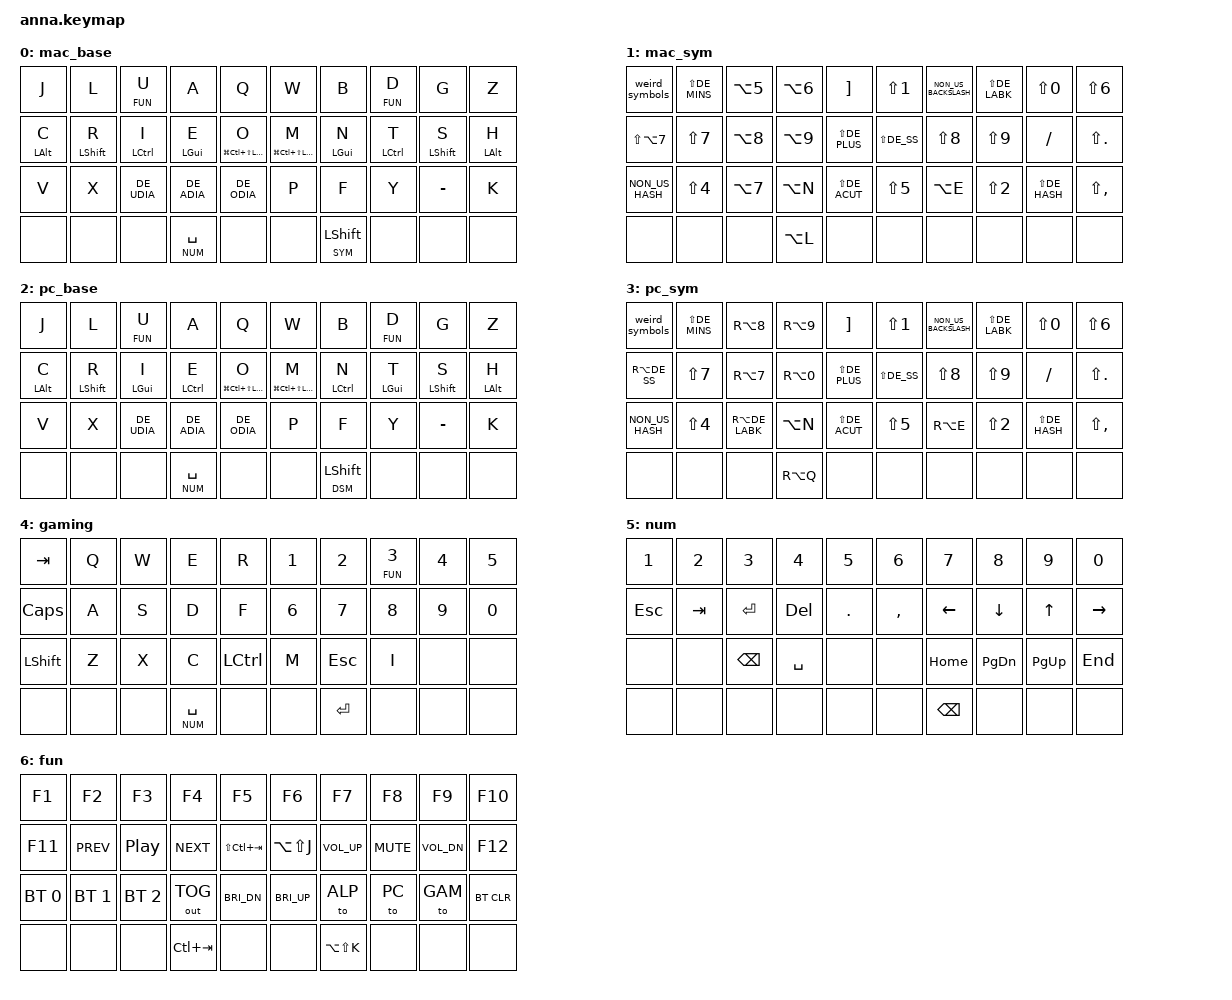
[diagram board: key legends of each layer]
/*
 * Copyright (c) 2021 The ZMK Contributors
 *
 * SPDX-License-Identifier: MIT
 */

#include <behaviors.dtsi>
#include <dt-bindings/zmk/keys.h>
#include <dt-bindings/zmk/bt.h>
#include <dt-bindings/zmk/outputs.h>

/* UNIVERSAL GERMAN KEY CODES */
#define DE_Z    Y             // Z
#define DE_Y    Z             // Y
#define DE_SS   MINUS         // ß


/* MAC GERMAN KEYBOARD CODES */
#define MAC_AT LA(L)           // @
#define MAC_EURO LA(E)         // €
#define MAC_TILD LA(N)         // ~
#define MAC_BSLS LS(LA(NUMBER_7)) // (backslash)
#define MAC_LBRC LA(NUMBER_5)     // [
#define MAC_RBRC LA(NUMBER_6)     // ]
#define MAC_PIPE LA(NUMBER_7)     // |
#define MAC_LCBR LA(NUMBER_8)     // {
#define MAC_RCBR LA(NUMBER_9)     // }

/* DIN GERMAN KEYBOARD CODES */
#define DE_CIRC GRAVE // ^ (dead)
#define DE_ACUT EQUAL // ´ (dead)
#define DE_UNDS LS(DE_MINS) // _
#define DE_UDIA LEFT_BRACKET // Ü
#define DE_PLUS RIGHT_BRACKET // +
#define DE_ODIA SEMICOLON    // Ö
#define DE_ADIA SINGLE_QUOTE // Ä
#define DE_HASH NON_US_HASH  // #
#define DE_LABK NON_US_BACKSLASH // <
#define DE_EXLM LS(NUMBER_1)    // !
#define DE_DQUO LS(NUMBER_2)    // "
#define DE_SECT LS(NUMBER_3)    // §
#define DE_DLR  LS(NUMBER_4)    // $
#define DE_PERC LS(NUMBER_5)    // %
#define DE_AMPR LS(NUMBER_6)    // &
#define DE_SLSH LS(NUMBER_7)    // /
#define DE_LPRN LS(NUMBER_8)    // (
#define DE_RPRN LS(NUMBER_9)    // )
#define DE_EQL  LS(NUMBER_0)    // =
#define DE_MINS SLASH            // -
#define DE_DEG  LS(DE_CIRC) // °
#define DE_QUES LS(DE_SS)   // ?
#define DE_GRV  LS(DE_ACUT) // ` (dead)
#define DE_ASTR LS(DE_PLUS) // *
#define DE_QUOT LS(DE_HASH) // '
#define DE_RABK LS(DE_LABK) // >
#define DE_SCLN LS(COMMA) // ;
#define DE_COLN LS(PERIOD)  // :

#define DE_AT RA(Q)           // @
#define DE_EURO RA(E)         // €
#define DE_TILD RA(DE_PLUS)         // ~
#define DE_BSLS RA(DE_SS) // (backslash)
#define DE_LBRC RA(NUMBER_8)     // [
#define DE_RBRC RA(NUMBER_9)     // ]
#define DE_PIPE RA(DE_LABK)     // |
#define DE_LCBR RA(NUMBER_7)     // {
#define DE_RCBR RA(NUMBER_0)     // }


#define _____ &none

#define ALP 0
#define SYM 1
#define PC  2
#define DSM 3
#define GAM 4
#define NUM 5
#define FUN 6

#define DE_UE DE_UDIA
#define DE_AE DE_ADIA
#define DE_OE DE_ODIA

#define HYP LG(LC(LS(LALT)))

&caps_word {
    continue-list = <DE_UNDS DE_MINS BACKSPACE DELETE>;
};

&mt {
  quick-tap-ms = <125>;
  global-quick-tap;
  flavor = "tap-preferred";
  tapping-term-ms = <250>;
};

&lt {
  quick-tap-ms = <125>;
  global-quick-tap;
};

&sk {
    quick-release;
};

&sl {
    quick-release;
};

/ {
    macros {
        work: work {
            label = "work";
            compatible = "zmk,behavior-macro";
            #binding-cells = <0>;
            wait-ms = <1>;
            tap-ms = <1>;
            bindings
                = <&macro_tap &out OUT_BLE>
                , <&macro_tap &to ALP>
                , <&macro_tap &bt BT_SEL 0>
                ;
        };
    };
};



/{
  combos {
      compatible = "zmk,combos";

      combo_caps {
          timeout-ms = <20>;
          key-positions = <11 18>;
          bindings = <&caps_word>;
      };
  };

  behaviors {
      weird_symbols: weird_symbols {
          compatible = "zmk,behavior-tap-dance";
          label = "WEIRD_SYMBOLS";
          #binding-cells = <0>;
          tapping-term-ms = <200>;
          bindings = <&kp DE_CIRC>, <&kp DE_DEG>;
      };

      skq: sticky_key_quick_release {
        compatible = "zmk,behavior-sticky-key";
        label = "STICKY_KEY_QUICK_RELEASE";
        #binding-cells = <1>;
        bindings = <&kp>;
        release-after-ms = <1000>;
        quick-release;
      };

      sf: sf {
        compatible = "zmk,behavior-hold-tap";
        label = "shift";
        #binding-cells = <2>;
        flavor = "tap-preferred";
        tapping-term-ms = <200>;
        bindings = <&mo>, <&skq>;
    };
  };
  
  keymap {
    compatible = "zmk,keymap";

    mac_base {
      bindings = <
        &kp J       &kp L         &lt FUN U   &kp A         &kp Q     &kp W     &kp B           &lt FUN D   &kp G         &kp DE_Y
        &mt LALT C  &mt LSHIFT R  &mt LCTRL I &mt LGUI E    &mt HYP O &mt HYP M &mt LGUI N      &mt LCTRL T &mt LSHIFT S  &mt LALT H
        &kp V       &kp X         &kp DE_UE   &kp DE_AE     &kp DE_OE &kp P     &kp F           &kp DE_Z    &kp DE_SS     &kp K
        _____       _____         _____       &lt NUM SPACE _____     _____     &sf SYM LSHIFT  _____       _____         _____ 
      >;
    };


    mac_sym {
      bindings = <
        &weird_symbols  &kp DE_UNDS &kp MAC_LBRC  &kp MAC_RBRC  &kp DE_PLUS &kp DE_EXLM &kp DE_LABK  &kp DE_RABK &kp DE_EQL  &kp DE_AMPR 
        &kp MAC_BSLS    &kp DE_SLSH &kp MAC_LCBR  &kp MAC_RCBR  &kp DE_ASTR &kp DE_QUES &kp DE_LPRN  &kp DE_RPRN &kp DE_MINS &kp DE_COLN
        &kp DE_HASH     &kp DE_DLR  &kp MAC_PIPE  &kp MAC_TILD  &kp DE_GRV  &kp DE_PERC &kp MAC_EURO &kp DE_DQUO &kp DE_QUOT &kp DE_SCLN
        _____           _____       _____         &kp MAC_AT    _____       _____       _____        _____       _____       _____ 
      >;
    };

    pc_base {
      bindings = <
        &kp J       &kp L         &lt FUN U   &kp A         &kp Q     &kp W     &kp B           &lt FUN D   &kp G         &kp DE_Y
        &mt LALT C  &mt LSHIFT R  &mt LGUI I  &mt LCTRL E   &mt HYP O &mt HYP M &mt LCTRL N     &mt LGUI T  &mt LSHIFT S  &mt LALT H
        &kp V       &kp X         &kp DE_UE   &kp DE_AE     &kp DE_OE &kp P     &kp F           &kp DE_Z    &kp DE_SS     &kp K
        _____       _____         _____       &lt NUM SPACE _____     _____     &sf DSM LSHIFT  _____       _____         _____ 
      >;
    };

    pc_sym {
      bindings = <
        &weird_symbols  &kp DE_UNDS   &kp DE_LBRC &kp DE_RBRC   &kp DE_PLUS &kp DE_EXLM &kp DE_LABK &kp DE_RABK &kp DE_EQL  &kp DE_AMPR 
        &kp DE_BSLS     &kp DE_SLSH   &kp DE_LCBR &kp DE_RCBR   &kp DE_ASTR &kp DE_QUES &kp DE_LPRN &kp DE_RPRN &kp DE_MINS &kp DE_COLN
        &kp DE_HASH     &kp DE_DLR    &kp DE_PIPE &kp MAC_TILD  &kp DE_GRV  &kp DE_PERC &kp DE_EURO &kp DE_DQUO &kp DE_QUOT &kp DE_SCLN
        _____           _____         _____       &kp DE_AT     _____       _____       _____       _____       _____       _____ 
      >;
    };

    gaming {
      bindings = <
        &kp TAB     &kp Q &kp W &kp E         &kp R     &kp N1  &kp N2      &lt FUN N3  &kp N4  &kp N5
        &kp CAPS    &kp A &kp S &kp D         &kp F     &kp N6  &kp N7      &kp N8      &kp N9  &kp N0
        &kp LSHIFT  &kp Z &kp X &kp C         &kp LCTRL &kp M   &kp ESC     &kp I       _____   _____
        _____       _____ _____ &lt NUM SPACE _____     _____   &kp ENTER   _____       _____   _____
      >;
    };
    
    num {
      bindings = <
        &kp N1      &kp N2    &kp N3        &kp N4      &kp N5      &kp N6    &kp N7          &kp N8    &kp N9    &kp N0  
        &kp ESC     &kp TAB   &kp ENTER     &kp DELETE  &kp PERIOD  &kp COMMA &kp LEFT        &kp DOWN  &kp UP    &kp RIGHT 
        _____       _____     &kp BACKSPACE &kp SPACE   _____       _____     &kp HOME        &kp PG_DN &kp PG_UP &kp END
        _____       _____     _____         _____       _____       _____     &kp BACKSPACE   _____     _____     _____
      >;
    };

    fun {
      bindings = <
        &kp F1        &kp F2        &kp F3            &kp F4        &kp F5          &kp F6        &kp F7        &kp F8      &kp F9        &kp F10
        &kp F11       &kp C_PREV    &kp C_PLAY_PAUSE  &kp C_NEXT    &kp LS(LC(TAB)) &kp LA(LS(J)) &kp C_VOL_UP  &kp C_MUTE  &kp C_VOL_DN  &kp F12
        &bt BT_SEL 0  &bt BT_SEL 1  &bt BT_SEL 2      &out OUT_TOG  &kp C_BRI_DN    &kp C_BRI_UP  &to ALP       &to PC      &to GAM       &bt BT_CLR
        _____         _____         _____             &kp LC(TAB)   _____           _____         &kp LA(LS(K)) _____       _____         _____
      >;
    };

  };
};
